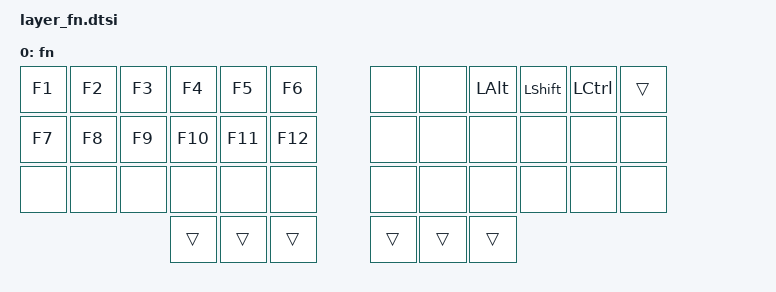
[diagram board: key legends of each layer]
/**
 * Fn Layer
 */

 / {
    keymap {
        compatible = "zmk,keymap";

        fn_layer {
            display-name = "fn";
            bindings = <
// ╭───────────────┬───────────────┬───────────────┬───────────────┬───────────────┬───────────────╮   ╭───────────────┬───────────────┬───────────────┬───────────────┬───────────────┬───────────────╮
// │0              │1              │2              │3              │4              │5              │   │6              │7              │8              │9              │10             │11             │
    &kp F1          &kp F2          &kp F3          &kp F4          &kp F5          &kp F6              &none           &none           &kp LALT        &kp LSHFT       &kp LCTRL       &trans
// ├───────────────├───────────────┼───────────────┼───────────────┼───────────────┼───────────────┤   ├───────────────├───────────────┼───────────────┼───────────────┼───────────────┼───────────────┤
// │12             │13             │14             │15             │16             │17             │   │18             │19             │20             │21             │22             │23             │
    &kp F7          &kp F8          &kp F9          &kp F10         &kp F11         &kp F12             &none           &none           &none           &none           &none           &none
// ├───────────────├───────────────┼───────────────┼───────────────┼───────────────┼───────────────┤   ├───────────────├───────────────┼───────────────┼───────────────┼───────────────┼───────────────┤
// │24             │25             │26             │27             │28             │29             │   │30             │31             │32             │33             │34             │35             │
    &none           &none           &none           &none           &none           &none               &none           &none           &none           &none           &none           &none
// ╰───────────────┴───────────────┴───────────────┼───────────────┼───────────────┼───────────────┤   ├───────────────├───────────────┼───────────────┼───────────────┴───────────────┴───────────────╯
//                                                 │36             │37             │38             │   │39             │40             │41             │
                                                    &trans          &trans          &trans              &trans          &trans          &trans
//                                                 ╰───────────────┴───────────────┴───────────────╯   ╰───────────────┴───────────────┴───────────────╯
            >;
        };
    };
};
